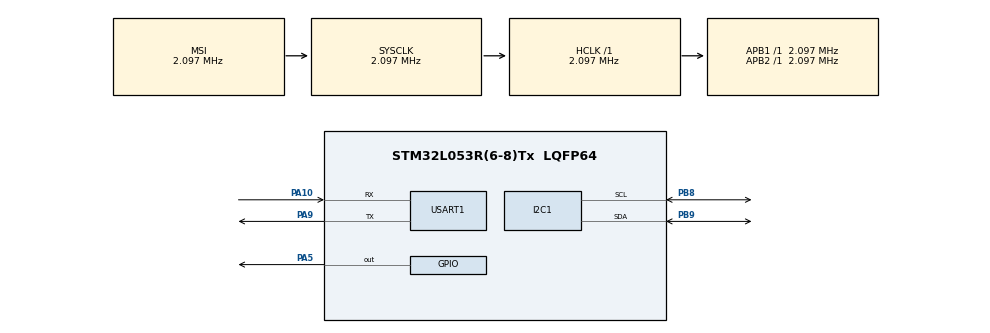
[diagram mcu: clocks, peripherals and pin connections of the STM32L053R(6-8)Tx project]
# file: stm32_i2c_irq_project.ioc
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I2C1.Timing=0x00000608
Mcu.Family=STM32L0
Mcu.Name=STM32L053R(6-8)Tx
Mcu.Package=LQFP64
NVIC.I2C1_IRQn=true\:0\:0\:false\:false\:true\:true\:true\:true
NVIC.USART1_IRQn=true\:0\:0\:false\:false\:true\:true\:true\:true
PA10.Mode=Asynchronous
PA10.Signal=USART1_RX
PA5.Signal=GPIO_Output
PA9.Mode=Asynchronous
PA9.Signal=USART1_TX
PB8.GPIO_Pu=GPIO_NOPULL
PB8.Mode=I2C
PB8.Signal=I2C1_SCL
PB9.GPIO_Pu=GPIO_NOPULL
PB9.Mode=I2C
PB9.Signal=I2C1_SDA
ProjectManager.HeapSize=0x200
ProjectManager.StackSize=0x400
ProjectManager.TargetToolchain=STM32CubeIDE
RCC.AHBFreq_Value=2097000
RCC.APB1Freq_Value=2097000
RCC.APB1TimFreq_Value=2097000
RCC.APB2Freq_Value=2097000
RCC.APB2TimFreq_Value=2097000
RCC.HSE_VALUE=8000000
RCC.HSI16_VALUE=16000000
RCC.HSI48_VALUE=48000000
RCC.HSI_VALUE=16000000
RCC.LSE_VALUE=32768
RCC.MSI_VALUE=2097000
RCC.SYSCLKFreq_VALUE=2097000
RCC.VCOOutputFreq_Value=48000000
USART1.VirtualMode-Asynchronous=VM_ASYNC
board=custom

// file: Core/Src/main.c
/* USER CODE BEGIN Header */
/**
  ******************************************************************************
  * @file           : main.c
  * @brief          : Main program body
  ******************************************************************************
  * @attention
  *
  * Copyright (c) 2025 STMicroelectronics.
  * All rights reserved.
  *
  * This software is licensed under terms that can be found in the LICENSE file
  * in the root directory of this software component.
  * If no LICENSE file comes with this software, it is provided AS-IS.
  *
  ******************************************************************************
  */
/* USER CODE END Header */
#include "main.h"

/* USER CODE BEGIN Includes */
#include <string.h>
#include <stdio.h>
/* USER CODE END Includes */

/* USER CODE BEGIN PD */

//	address of registers with auto-increment for multi-bytes

#define HTS221_ADDR 0xBE
#define HTS221_ADDR_WHO_AM_I 0x0F
#define HTS221_ADDR_CTRL1 0x20
#define HTS221_ADDR_T_OUT (0x2A | 0x80)
#define HTS221_ADDR_T0T1_OUT (0x3C | 0x80)
#define HTS221_ADDR_T0T1_degC_x8_LSB (0x32 | 0x80)
#define HTS221_ADDR_T0T1_MSB 0x35

#define HTS221_ADDR_H0H1_RH_X2 (0x30 | 0x80)
#define HTS221_ADDR_H_OUT (0x28 | 0x80)
#define HTS221_ADDR_H0_T0_OUT (0x36 | 0x80)
#define HTS221_ADDR_H1_T0_OUT (0x3A | 0x80)
//---------------------------------State----------------------------------------
#define POWER_DOWN 0x00
#define POWER_UP_CTRL1_1HZ 0x85
#define REG_READ 0
#define REG_WRITE 1
#define REG_IDLE 2
#define I2C_MODULE_READY 1
#define I2C_MODULE_BUSY 0
#define UART_MODULE_READY 1
#define UART_MODULE_BUSY 0
/* USER CODE END PD */

I2C_HandleTypeDef hi2c1;

UART_HandleTypeDef huart1;

/* USER CODE BEGIN PV */
uint8_t buf[50], mode_rw, i2c_state, uart_state, size;
int16_t T0_OUT, T1_OUT, T0_degC, T1_degC;
int16_t H0_rh, H1_rh, H0_T0_out, H1_T0_out;
/* USER CODE END PV */

void SystemClock_Config(void);
static void MX_GPIO_Init(void);
static void MX_I2C1_Init(void);
static void MX_USART1_UART_Init(void);

/* USER CODE BEGIN 0 */
HAL_StatusTypeDef HTS221_I2C_IT_Write_Reg(uint8_t reg_addr, uint8_t data) {
	mode_rw = REG_WRITE;
	i2c_state = I2C_MODULE_BUSY;
	buf[0] = reg_addr;
	buf[1] = data;

	return HAL_I2C_Master_Transmit_IT(&hi2c1, HTS221_ADDR, buf, 2);
}

HAL_StatusTypeDef HTS221_I2C_IT_Read_Reg(uint8_t reg_addr, uint16_t data_size) {
	mode_rw = REG_READ;
	i2c_state = I2C_MODULE_BUSY;
	size = data_size;
	buf[0] = reg_addr;

	return HAL_I2C_Master_Transmit_IT(&hi2c1, HTS221_ADDR, buf, 1);
}

HAL_StatusTypeDef UART_IT_Write(uint8_t *buf) {
	uart_state = UART_MODULE_BUSY;

	return HAL_UART_Transmit_IT(&huart1, buf, strlen((const char *)buf));
}

HAL_StatusTypeDef HTS221_Read_Temp_Coef(void) {
	HAL_StatusTypeDef res;
	uint8_t T1T0_msb;
	int16_t T0_degC_x8, T1_degC_x8;

	res = HTS221_I2C_IT_Read_Reg(HTS221_ADDR_T0T1_MSB, 1);
	if(res != HAL_OK) return res;

	while(i2c_state != I2C_MODULE_READY);
	T1T0_msb = buf[0];

	res = HTS221_I2C_IT_Read_Reg(HTS221_ADDR_T0T1_degC_x8_LSB, 2);
	if(res != HAL_OK) return res;

	while(i2c_state != I2C_MODULE_READY);
	T0_degC_x8 = (((uint16_t)T1T0_msb & 0x03) << 8) | ((uint16_t)buf[0]);
	T1_degC_x8 = (((uint16_t)T1T0_msb & 0x0C) << 6) | ((uint16_t)buf[1]);

	T0_degC = T0_degC_x8 >> 3;
	T1_degC = T1_degC_x8 >> 3;

	res = HTS221_I2C_IT_Read_Reg(HTS221_ADDR_T0T1_OUT, 4);
	if(res != HAL_OK) return res;

	while(i2c_state != I2C_MODULE_READY);
	T0_OUT = (((uint16_t)buf[1]) << 8) | (uint16_t)buf[0];
	T1_OUT = (((uint16_t)buf[3]) << 8) | (uint16_t)buf[2];

	return res;
}

HAL_StatusTypeDef HTS221_Read_Humi_Coef(void) {
	HAL_StatusTypeDef res;

	res = HTS221_I2C_IT_Read_Reg(HTS221_ADDR_H0H1_RH_X2, 2);
	if(res != HAL_OK) return res;

	while(i2c_state != I2C_MODULE_READY);
	H0_rh = buf[0] >> 1;
	H1_rh = buf[1] >> 1;

	res = HTS221_I2C_IT_Read_Reg(HTS221_ADDR_H0_T0_OUT, 2);
	if(res != HAL_OK) return res;

	while(i2c_state != I2C_MODULE_READY);
	H0_T0_out = (uint16_t)(buf[1] << 8) | (uint16_t)buf[0];

	res = HTS221_I2C_IT_Read_Reg(HTS221_ADDR_H1_T0_OUT, 2);
	if(res != HAL_OK) return res;

	while(i2c_state != I2C_MODULE_READY);
	H1_T0_out = (uint16_t)(buf[1] << 8) | (uint16_t)buf[0];

	return res;
}

int16_t getTemperature(void) {
	HAL_StatusTypeDef res;
	int16_t T_OUT;
	int32_t T_degC;
	int16_t degres;

	res = HTS221_I2C_IT_Read_Reg(HTS221_ADDR_T_OUT, 2);
	if(res != HAL_OK) return res;

	while(i2c_state != I2C_MODULE_READY);
	T_OUT = (((uint16_t)buf[1]) << 8) | (uint16_t)buf[0];

	T_degC = ((int32_t)(T_OUT - T0_OUT)) * ((int32_t)(T1_degC - T0_degC) * 10);
	degres = (T_degC / (T1_OUT - T0_OUT) + T0_degC * 10) / 10;

	return degres;
}

int16_t getHumidity(void) {
	HAL_StatusTypeDef res;
	int32_t H_rh;
	int16_t hum;
	int16_t H_T_out;

	res = HTS221_I2C_IT_Read_Reg(HTS221_ADDR_H_OUT, 2);
	if(res != HAL_OK) return res;

	while(i2c_state != I2C_MODULE_READY);
	H_T_out = (((uint16_t)buf[1]) << 8) | (uint16_t)buf[0];

	H_rh = ((int32_t)(H_T_out - H0_T0_out)) * ((int32_t)(H1_rh - H0_rh) * 10);
	hum = ((uint16_t)(H_rh / (H1_T0_out - H0_T0_out) + H0_rh * 10)) / 10;

	return hum;
}

void HAL_I2C_MasterTxCpltCallback(I2C_HandleTypeDef *hi2c) {
	if(mode_rw == REG_READ) {
		HAL_I2C_Master_Receive_IT(&hi2c1, HTS221_ADDR, buf, size);
	}
	else {
		mode_rw = REG_IDLE;
		i2c_state = I2C_MODULE_READY;
	}
}

void HAL_I2C_MasterRxCpltCallback(I2C_HandleTypeDef *hi2c) {
	mode_rw = REG_IDLE;
	i2c_state = I2C_MODULE_READY;
}

void HAL_UART_TxCpltCallback(UART_HandleTypeDef *huart) {
	uart_state = UART_MODULE_READY;
}
/* USER CODE END 0 */

int main(void)
{

  /* USER CODE BEGIN 1 */
	HAL_StatusTypeDef res;
  /* USER CODE END 1 */

  /* MCU Configuration--------------------------------------------------------*/

  /* Reset of all peripherals, Initializes the Flash interface and the Systick. */
  HAL_Init();

  /* Configure the system clock */
  SystemClock_Config();

  /* Initialize all configured peripherals */
  MX_GPIO_Init();
  MX_I2C1_Init();
  MX_USART1_UART_Init();
  /* USER CODE BEGIN 2 */

  //	HTS221 initialization

  res = HTS221_I2C_IT_Write_Reg(HTS221_ADDR_CTRL1, POWER_UP_CTRL1_1HZ);
  if(res != HAL_OK) return res;

  //	Read fabric coefficients

  while(i2c_state != I2C_MODULE_READY);
  res = HTS221_Read_Temp_Coef();
  if(res != HAL_OK) return res;

  while(i2c_state != I2C_MODULE_READY);
  res = HTS221_Read_Humi_Coef();
  if(res != HAL_OK) return res;

  /* USER CODE END 2 */

  /* Infinite loop */
  /* USER CODE BEGIN WHILE */
  while (1)
  {
	  sprintf((char *)buf, "Temperature: %dC\r\nHumidity: %d%%\r\n", getTemperature(), getHumidity());
	  UART_IT_Write(buf);

	  while(uart_state != UART_MODULE_READY);
	  HAL_Delay(500);
    /* USER CODE END WHILE */

  }
}

void SystemClock_Config(void)
{
  RCC_OscInitTypeDef RCC_OscInitStruct = {0};
  RCC_ClkInitTypeDef RCC_ClkInitStruct = {0};
  RCC_PeriphCLKInitTypeDef PeriphClkInit = {0};

  /** Configure the main internal regulator output voltage
  */
  __HAL_PWR_VOLTAGESCALING_CONFIG(PWR_REGULATOR_VOLTAGE_SCALE1);

  /** Initializes the RCC Oscillators according to the specified parameters
  * in the RCC_OscInitTypeDef structure.
  */
  RCC_OscInitStruct.OscillatorType = RCC_OSCILLATORTYPE_MSI;
  RCC_OscInitStruct.MSIState = RCC_MSI_ON;
  RCC_OscInitStruct.MSICalibrationValue = 0;
  RCC_OscInitStruct.MSIClockRange = RCC_MSIRANGE_5;
  RCC_OscInitStruct.PLL.PLLState = RCC_PLL_NONE;
  if (HAL_RCC_OscConfig(&RCC_OscInitStruct) != HAL_OK)
  {
    Error_Handler();
  }

  /** Initializes the CPU, AHB and APB buses clocks
  */
  RCC_ClkInitStruct.ClockType = RCC_CLOCKTYPE_HCLK|RCC_CLOCKTYPE_SYSCLK
                              |RCC_CLOCKTYPE_PCLK1|RCC_CLOCKTYPE_PCLK2;
  RCC_ClkInitStruct.SYSCLKSource = RCC_SYSCLKSOURCE_MSI;
  RCC_ClkInitStruct.AHBCLKDivider = RCC_SYSCLK_DIV1;
  RCC_ClkInitStruct.APB1CLKDivider = RCC_HCLK_DIV1;
  RCC_ClkInitStruct.APB2CLKDivider = RCC_HCLK_DIV1;

  if (HAL_RCC_ClockConfig(&RCC_ClkInitStruct, FLASH_LATENCY_0) != HAL_OK)
  {
    Error_Handler();
  }
  PeriphClkInit.PeriphClockSelection = RCC_PERIPHCLK_USART1|RCC_PERIPHCLK_I2C1;
  PeriphClkInit.Usart1ClockSelection = RCC_USART1CLKSOURCE_PCLK2;
  PeriphClkInit.I2c1ClockSelection = RCC_I2C1CLKSOURCE_PCLK1;
  if (HAL_RCCEx_PeriphCLKConfig(&PeriphClkInit) != HAL_OK)
  {
    Error_Handler();
  }
}

static void MX_I2C1_Init(void)
{

  hi2c1.Instance = I2C1;
  hi2c1.Init.Timing = 0x00000608;
  hi2c1.Init.OwnAddress1 = 0;
  hi2c1.Init.AddressingMode = I2C_ADDRESSINGMODE_7BIT;
  hi2c1.Init.DualAddressMode = I2C_DUALADDRESS_DISABLE;
  hi2c1.Init.OwnAddress2 = 0;
  hi2c1.Init.OwnAddress2Masks = I2C_OA2_NOMASK;
  hi2c1.Init.GeneralCallMode = I2C_GENERALCALL_DISABLE;
  hi2c1.Init.NoStretchMode = I2C_NOSTRETCH_DISABLE;
  if (HAL_I2C_Init(&hi2c1) != HAL_OK)
  {
    Error_Handler();
  }

  /** Configure Analogue filter
  */
  if (HAL_I2CEx_ConfigAnalogFilter(&hi2c1, I2C_ANALOGFILTER_ENABLE) != HAL_OK)
  {
    Error_Handler();
  }

  /** Configure Digital filter
  */
  if (HAL_I2CEx_ConfigDigitalFilter(&hi2c1, 0) != HAL_OK)
  {
    Error_Handler();
  }

}

static void MX_USART1_UART_Init(void)
{

  huart1.Instance = USART1;
  huart1.Init.BaudRate = 115200;
  huart1.Init.WordLength = UART_WORDLENGTH_8B;
  huart1.Init.StopBits = UART_STOPBITS_1;
  huart1.Init.Parity = UART_PARITY_NONE;
  huart1.Init.Mode = UART_MODE_TX_RX;
  huart1.Init.HwFlowCtl = UART_HWCONTROL_NONE;
  huart1.Init.OverSampling = UART_OVERSAMPLING_16;
  huart1.Init.OneBitSampling = UART_ONE_BIT_SAMPLE_DISABLE;
  huart1.AdvancedInit.AdvFeatureInit = UART_ADVFEATURE_NO_INIT;
  if (HAL_UART_Init(&huart1) != HAL_OK)
  {
    Error_Handler();
  }

}

static void MX_GPIO_Init(void)
{
  GPIO_InitTypeDef GPIO_InitStruct = {0};

  /* GPIO Ports Clock Enable */
  __HAL_RCC_GPIOA_CLK_ENABLE();
  __HAL_RCC_GPIOB_CLK_ENABLE();

  /*Configure GPIO pin Output Level */
  HAL_GPIO_WritePin(GPIOA, GPIO_PIN_5, GPIO_PIN_RESET);

  /*Configure GPIO pin : PA5 */
  GPIO_InitStruct.Pin = GPIO_PIN_5;
  GPIO_InitStruct.Mode = GPIO_MODE_OUTPUT_PP;
  GPIO_InitStruct.Pull = GPIO_NOPULL;
  GPIO_InitStruct.Speed = GPIO_SPEED_FREQ_LOW;
  HAL_GPIO_Init(GPIOA, &GPIO_InitStruct);

}

void Error_Handler(void)
{
  __disable_irq();
  while (1)
  {
  }
}
